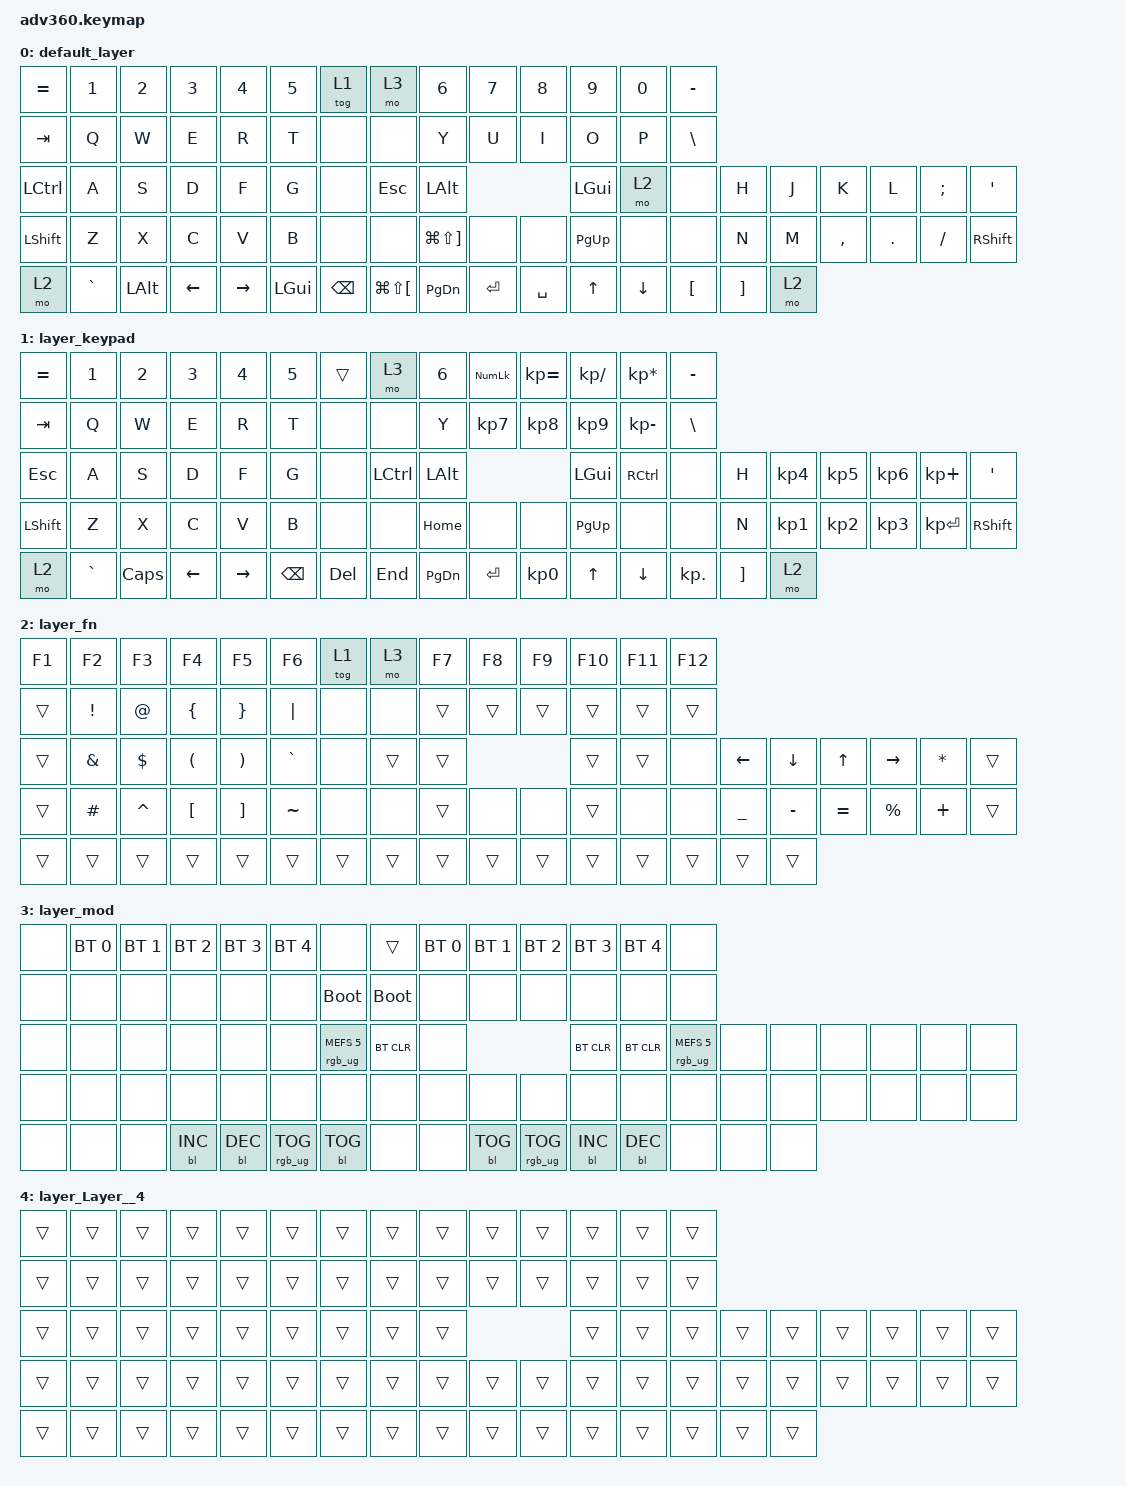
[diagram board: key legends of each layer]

/*
 * Copyright (c) 2020 The ZMK Contributors
 *
 * SPDX-License-Identifier: MIT
 */


/* THIS FILE WAS GENERATED!
 *
 * This file was generated automatically. You may or may not want to
 * edit it directly.
 */

#include <behaviors.dtsi>
#include <dt-bindings/zmk/keys.h>
#include <dt-bindings/zmk/bt.h>
#include <dt-bindings/zmk/rgb.h>
#include <dt-bindings/zmk/backlight.h>

#define BROWSER_NEXTTAB LG(LS(RIGHT_BRACKET))
#define BROWSER_PREVTAB LG(LS(LEFT_BRACKET))

&lt {
    quick-tap-ms = <175>;
    tapping-term-ms = <200>;
};

/ {
    behaviors {
      #include "macros.dtsi"

      hm: homerow_mods {
          compatible = "zmk,behavior-hold-tap";
          label = "HOMEROW_MODS";
          #binding-cells = <2>;
          tapping-term-ms = <200>;
          quick_tap_ms = <175>;
          flavor = "tap-preferred";
          bindings = <&kp>, <&kp>;
      };
    };
    
    keymap {
        compatible = "zmk,keymap";


        default_layer {
            bindings = <
 &kp EQUAL     &kp N1        &kp N2    &kp N3     &kp N4    &kp N5                   &tog 1    &mo 3     &kp N6     &kp N7       &kp N8     &kp N9     &kp N0  &kp MINUS
   &kp TAB      &kp Q         &kp W     &kp E      &kp R     &kp T                    &none    &none      &kp Y      &kp U        &kp I      &kp O      &kp P   &kp BSLH
 &kp LCTRL      &kp A         &kp S     &kp D      &kp F     &kp G                    &none  &kp ESC   &kp LALT                           &kp LGUI  &mo 2      &none     &kp H   &kp J      &kp K    &kp L  &kp SEMI    &kp SQT
 &kp LSHFT      &kp Z         &kp X     &kp C      &kp V     &kp B                    &none    &none   &kp BROWSER_NEXTTAB      &none        &none  &kp PG_UP      &none      &none     &kp N   &kp M  &kp COMMA  &kp DOT  &kp FSLH  &kp RSHFT
     &mo 2  &kp GRAVE  &kp LEFT_ALT  &kp LEFT  &kp RIGHT  &kp LGUI            &kp BACKSPACE  &kp BROWSER_PREVTAB  &kp PG_DN  &kp ENTER  &kp SPACE     &kp UP   &kp DOWN   &kp LBKT  &kp RBKT   &mo 2
            >;
        };

        layer_keypad {
            bindings = <
 &kp EQUAL     &kp N1    &kp N2    &kp N3     &kp N4    &kp N5             &trans      &mo 3     &kp N6  &kp KP_NUM  &kp KP_EQUAL  &kp KP_DIVIDE  &kp KP_MULTIPLY   &kp MINUS
   &kp TAB      &kp Q     &kp W     &kp E      &kp R     &kp T              &none      &none      &kp Y   &kp KP_N7     &kp KP_N8      &kp KP_N9     &kp KP_MINUS    &kp BSLH
   &kp ESC      &kp A     &kp S     &kp D      &kp F     &kp G              &none  &kp LCTRL   &kp LALT                                 &kp LGUI        &kp RCTRL       &none     &kp H  &kp KP_N4  &kp KP_N5  &kp KP_N6   &kp KP_PLUS    &kp SQT
 &kp LSHFT      &kp Z     &kp X     &kp C      &kp V     &kp B              &none      &none   &kp HOME       &none         &none      &kp PG_UP            &none       &none     &kp N  &kp KP_N1  &kp KP_N2  &kp KP_N3  &kp KP_ENTER  &kp RSHFT
     &mo 2  &kp GRAVE  &kp CAPS  &kp LEFT  &kp RIGHT  &kp BSPC            &kp DEL    &kp END  &kp PG_DN   &kp ENTER     &kp KP_N0         &kp UP         &kp DOWN  &kp KP_DOT  &kp RBKT      &mo 2
            >;
        };

        layer_fn {
            bindings = <
 &kp F1    &kp F2      &kp F3    &kp F4    &kp F5     &kp F6            &tog 1   &mo 3  &kp F7  &kp F8  &kp F9  &kp F10       &kp F11  &kp F12
 &trans  &kp EXCL      &kp AT  &kp LBRC  &kp RBRC   &kp PIPE             &none   &none  &trans  &trans  &trans   &trans  &trans  &trans
 &trans  &kp AMPS  &kp DOLLAR  &kp LPAR  &kp RPAR  &kp GRAVE             &none  &trans  &trans                   &trans        &trans    &none   &kp LEFT   &kp DOWN     &kp UP    &kp RIGHT    &kp ASTERISK  &trans
 &trans  &kp HASH   &kp CARET  &kp LBKT  &kp RBKT  &kp TILDE             &none   &none  &trans   &none   &none   &trans         &none    &none  &kp UNDER  &kp MINUS  &kp EQUAL  &kp PERCENT  &kp PLUS  &trans
 &trans    &trans      &trans    &trans    &trans     &trans            &trans  &trans  &trans  &trans  &trans   &trans        &trans   &trans     &trans     &trans
            >;
        };

        layer_mod {
            bindings = <
  &none  &bt BT_SEL 0  &bt BT_SEL 1  &bt BT_SEL 2  &bt BT_SEL 3     &bt BT_SEL 4                             &none       &trans  &bt BT_SEL 0  &bt BT_SEL 1     &bt BT_SEL 2  &bt BT_SEL 3  &bt BT_SEL 4                   &none
  &none         &none         &none         &none         &none            &none                       &bootloader  &bootloader         &none         &none            &none         &none         &none                   &none
  &none         &none         &none         &none         &none            &none            &rgb_ug RGB_MEFS_CMD 5   &bt BT_CLR         &none                                   &bt BT_CLR    &bt BT_CLR  &rgb_ug RGB_MEFS_CMD 5   &none   &none   &none   &none   &none   &none
  &none         &none         &none         &none         &none            &none                             &none        &none         &none         &none            &none         &none         &none                   &none   &none   &none   &none   &none   &none   &none
  &none         &none         &none    &bl BL_INC    &bl BL_DEC  &rgb_ug RGB_TOG                        &bl BL_TOG        &none         &none    &bl BL_TOG  &rgb_ug RGB_TOG    &bl BL_INC    &bl BL_DEC                   &none   &none   &none
            >;
        };

        layer_Layer__4 {
            bindings = <
 &trans  &trans  &trans  &trans  &trans  &trans            &trans  &trans  &trans  &trans  &trans  &trans  &trans  &trans
 &trans  &trans  &trans  &trans  &trans  &trans            &trans  &trans  &trans  &trans  &trans  &trans  &trans  &trans
 &trans  &trans  &trans  &trans  &trans  &trans            &trans  &trans  &trans                  &trans  &trans  &trans  &trans  &trans  &trans  &trans  &trans  &trans
 &trans  &trans  &trans  &trans  &trans  &trans            &trans  &trans  &trans  &trans  &trans  &trans  &trans  &trans  &trans  &trans  &trans  &trans  &trans  &trans
 &trans  &trans  &trans  &trans  &trans  &trans            &trans  &trans  &trans  &trans  &trans  &trans  &trans  &trans  &trans  &trans
            >;
        };

    };
};
